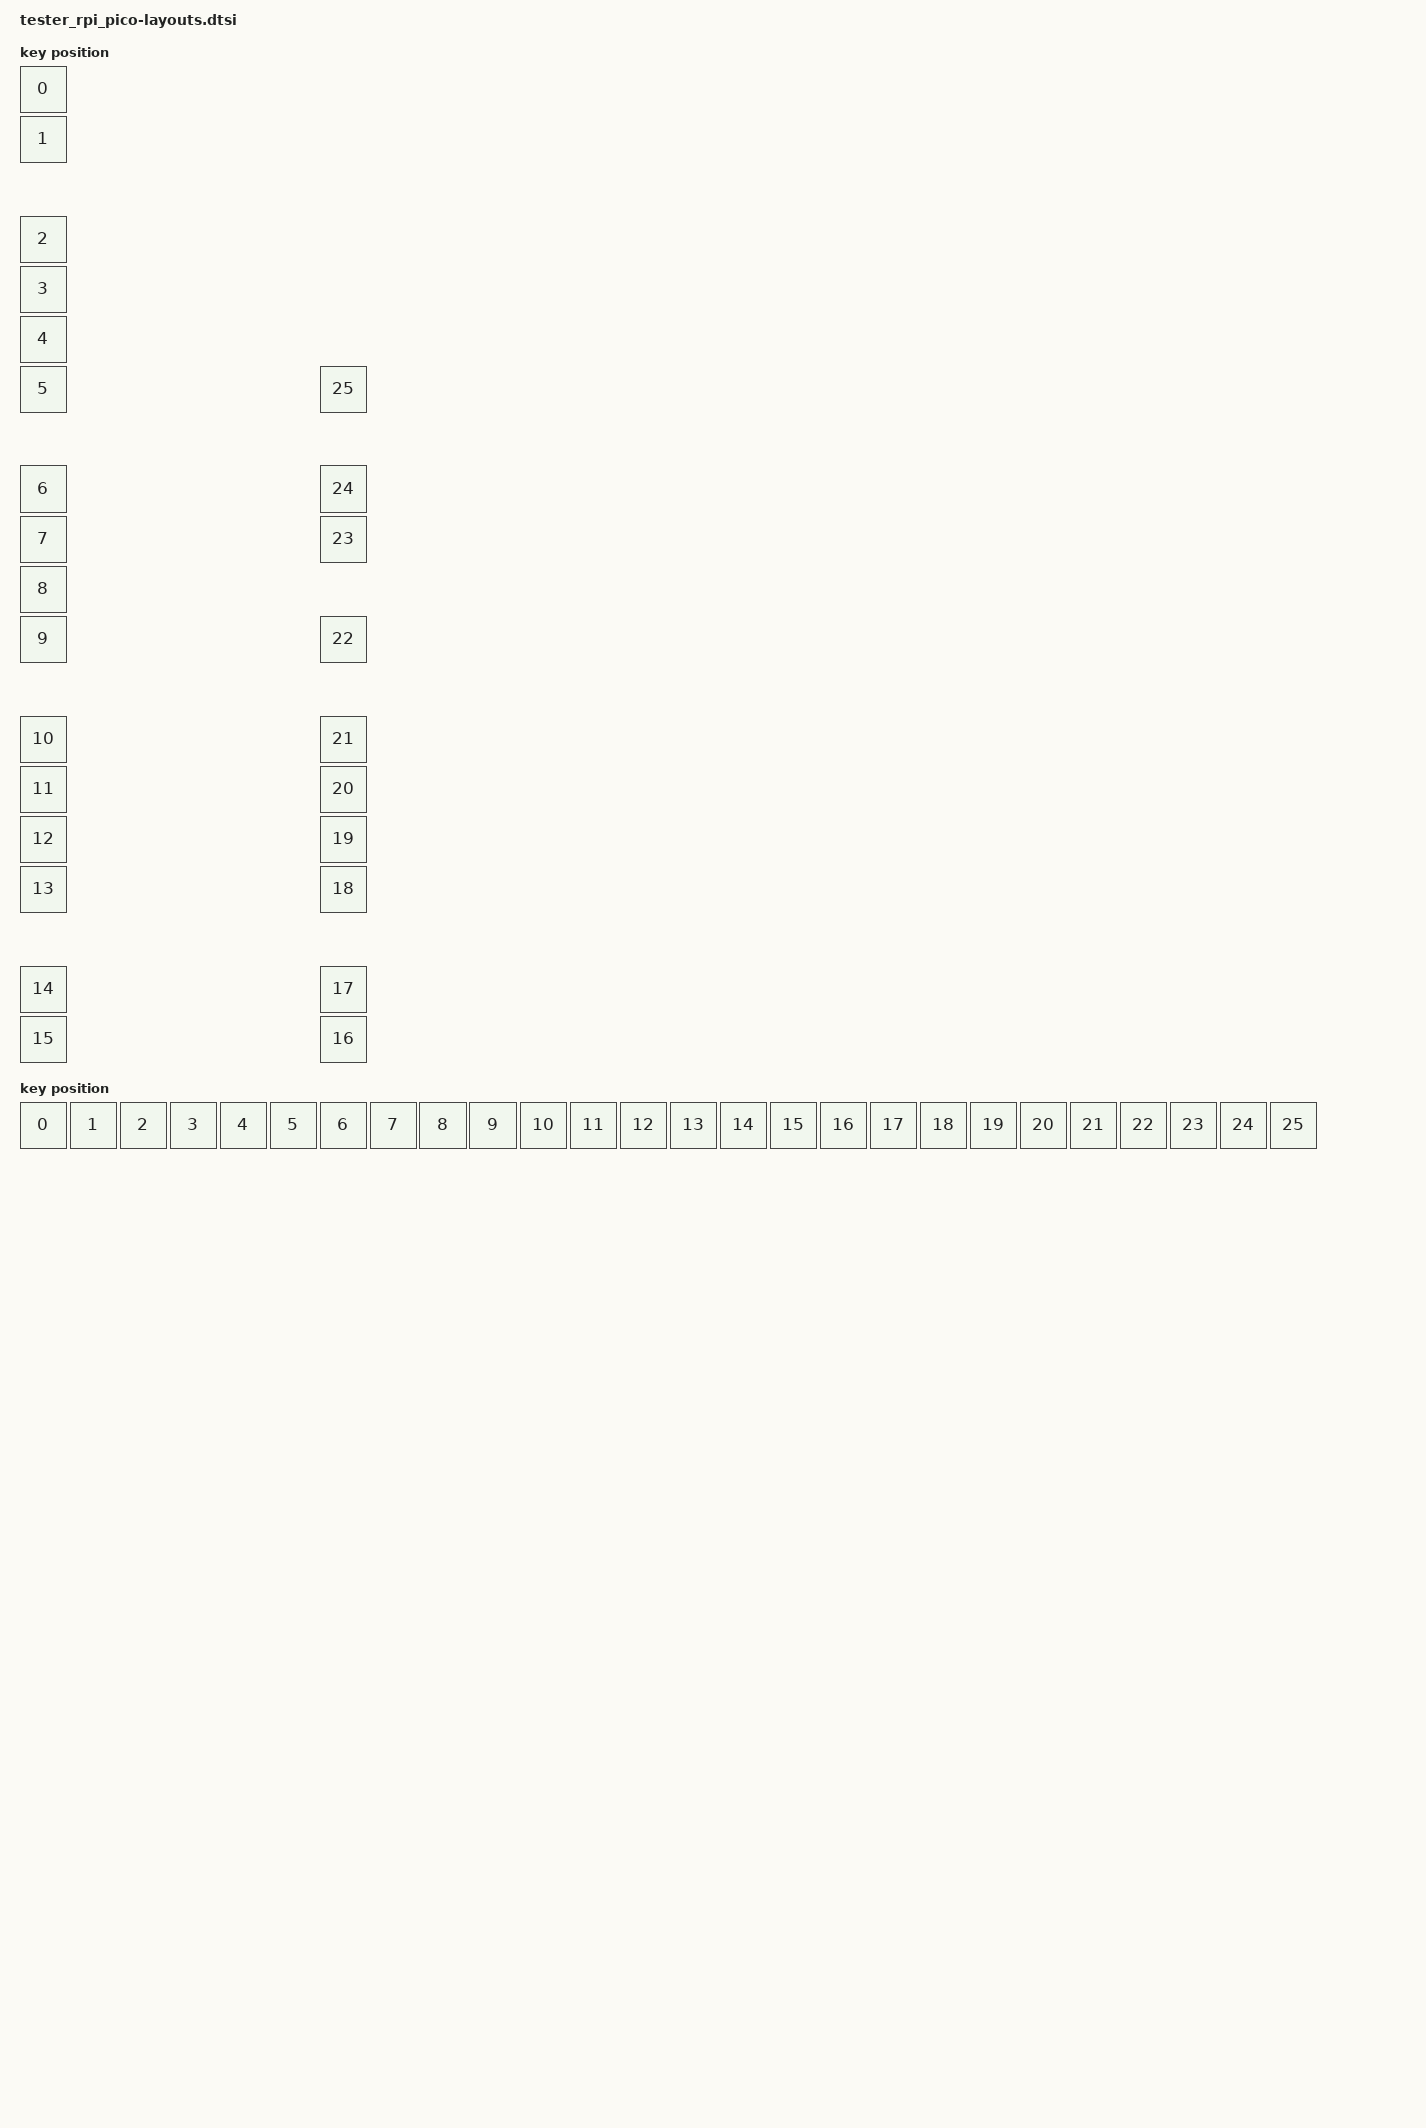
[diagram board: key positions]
/*
 * Copyright (c) 2025 The ZMK Contributors
 *
 * SPDX-License-Identifier: MIT
 */

#include <physical_layouts.dtsi>

/ {
    tester_position_map {
        compatible = "zmk,physical-layout-position-map";
        complete;

        pinout_map: pinout_positions {
            physical-layout = <&physical_layout0>;
            positions = <0 1 2 3 4 5 6 7 8 9 10 11 12 13 14 15 16 17 18 19 20 21 22 23 24 25>;
        };
        inline_map: single_row_positions {
            physical-layout = <&physical_layout1>;
            positions = <0 1 2 3 4 5 6 7 8 9 10 11 12 13 14 15 16 17 18 19 20 21 22 23 24 25>;
        };
    };

    physical_layout0: physical_layout_0 {
        compatible = "zmk,physical-layout";
        display-name = "Rpi Pico Pinout";

        kscan = <&kscan0>;
        transform = <&matrix_transform0>;

        keys  //                     w   h    x    y     rot    rx    ry
            = <&key_physical_attrs 100 100    0    0       0     0     0>
            , <&key_physical_attrs 100 100    0  100       0     0     0>
            , <&key_physical_attrs 100 100    0  300       0     0     0>
            , <&key_physical_attrs 100 100    0  400       0     0     0>
            , <&key_physical_attrs 100 100    0  500       0     0     0>
            , <&key_physical_attrs 100 100    0  600       0     0     0>
            , <&key_physical_attrs 100 100    0  800       0     0     0>
            , <&key_physical_attrs 100 100    0  900       0     0     0>
            , <&key_physical_attrs 100 100    0 1000       0     0     0>
            , <&key_physical_attrs 100 100    0 1100       0     0     0>
            , <&key_physical_attrs 100 100    0 1300       0     0     0>
            , <&key_physical_attrs 100 100    0 1400       0     0     0>
            , <&key_physical_attrs 100 100    0 1500       0     0     0>
            , <&key_physical_attrs 100 100    0 1600       0     0     0>
            , <&key_physical_attrs 100 100    0 1800       0     0     0>
            , <&key_physical_attrs 100 100    0 1900       0     0     0>
            , <&key_physical_attrs 100 100  600 1900       0     0     0>
            , <&key_physical_attrs 100 100  600 1800       0     0     0>
            , <&key_physical_attrs 100 100  600 1600       0     0     0>
            , <&key_physical_attrs 100 100  600 1500       0     0     0>
            , <&key_physical_attrs 100 100  600 1400       0     0     0>
            , <&key_physical_attrs 100 100  600 1300       0     0     0>
            , <&key_physical_attrs 100 100  600 1100       0     0     0>
            , <&key_physical_attrs 100 100  600  900       0     0     0>
            , <&key_physical_attrs 100 100  600  800       0     0     0>
            , <&key_physical_attrs 100 100  600  600       0     0     0>
            ;
    };

    physical_layout1: physical_layout_1 {
        compatible = "zmk,physical-layout";
        display-name = "Single Row";

        // Single row of eighteen "keys", in ascending "Arduino" order.
        keys  //                     w   h    x    y    rot   rx   ry
            = <&key_physical_attrs 100 100    0    0      0    0    0>
            , <&key_physical_attrs 100 100  100    0      0    0    0>
            , <&key_physical_attrs 100 100  200    0      0    0    0>
            , <&key_physical_attrs 100 100  300    0      0    0    0>
            , <&key_physical_attrs 100 100  400    0      0    0    0>
            , <&key_physical_attrs 100 100  500    0      0    0    0>
            , <&key_physical_attrs 100 100  600    0      0    0    0>
            , <&key_physical_attrs 100 100  700    0      0    0    0>
            , <&key_physical_attrs 100 100  800    0      0    0    0>
            , <&key_physical_attrs 100 100  900    0      0    0    0>
            , <&key_physical_attrs 100 100 1000    0      0    0    0>
            , <&key_physical_attrs 100 100 1100    0      0    0    0>
            , <&key_physical_attrs 100 100 1200    0      0    0    0>
            , <&key_physical_attrs 100 100 1300    0      0    0    0>
            , <&key_physical_attrs 100 100 1400    0      0    0    0>
            , <&key_physical_attrs 100 100 1500    0      0    0    0>
            , <&key_physical_attrs 100 100 1600    0      0    0    0>
            , <&key_physical_attrs 100 100 1700    0      0    0    0>
            , <&key_physical_attrs 100 100 1800    0      0    0    0>
            , <&key_physical_attrs 100 100 1900    0      0    0    0>
            , <&key_physical_attrs 100 100 2000    0      0    0    0>
            , <&key_physical_attrs 100 100 2100    0      0    0    0>
            , <&key_physical_attrs 100 100 2200    0      0    0    0>
            , <&key_physical_attrs 100 100 2300    0      0    0    0>
            , <&key_physical_attrs 100 100 2400    0      0    0    0>
            , <&key_physical_attrs 100 100 2500    0      0    0    0>
            ;
    };
};
